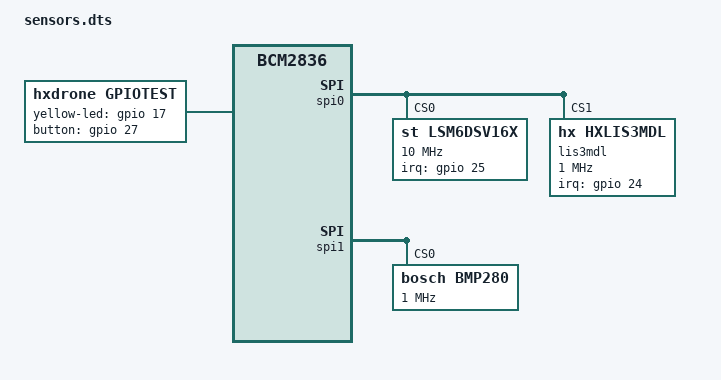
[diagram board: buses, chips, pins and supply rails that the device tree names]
/dts-v1/;
/plugin/;

/ {
	compatible = "brcm,bcm2836";
	fragment@0 {
		target-path = "/";
		__overlay__ {
			gpiotest {
				compatible = "hxdrone,gpiotest";
				status = "okay";
                my_label = "hello_dts";
				yellow-led-gpios = <&gpio 17 0>; 
				button-gpios = <&gpio 27 0>; 
			};
		};
	};

	fragment@1 {
        target = <&spidev0>;
        __overlay__ {
			status = "disabled";
		};
    };

	fragment@2 {
        target = <&spidev1>;
        __overlay__ {
			status = "disabled";
		};
    };

	fragment@3 {
        target = <&spi0>;
        __overlay__ {
			status = "okay";
			#address-cells = <1>;
			#size-cells = <0>;
			
			lsm6dsv16x@0 {
				compatible = "st,lsm6dsv16x";
				reg = <0>;
				interrupt-parent = <&gpio>;
				interrupts = <25 1>;
				spi-max-frequency = <10000000>;
			};	

			lis3mdl@1 {
				compatible = "hx,hxlis3mdl";
				reg = <1>;

				interrupt-parent = <&gpio>;
				interrupts = <24 1>;
				spi-max-frequency = <1000000>;
			};

			// mpu9250@1 {
			// 	compatible = "invensense,mpu6500";
			// 	reg = <1>;
			// 	interrupt-parent = <&gpio>;
			// 	interrupts = <17 1>;
			// 	spi-max-frequency = <1000000>;
			// };
		};
    };

	fragment@4 {
        target = <&spi1>;
        __overlay__ {
			status = "okay";
			#address-cells = <1>;
			#size-cells = <0>;
			
			bmp280@0 {
				compatible = "bosch,bmp280";
				reg = <0>;
				spi-max-frequency = <1000000>;
			};
		};
    };

	// fragment@4 {
	// 	target = <&i2c_arm>;
	// 	__overlay__ {
	// 		status = "okay";
	// 		#address-cells = <1>;
	// 		#size-cells = <0>;

	// 		lsm6dsv16x@6a {
	// 			compatible = "st,lsm6dsv16x";
	// 			reg = <0x6a>;
	// 			interrupt-parent = <&gpio>;
	// 			interrupts = <27 1>;
	// 			st,drdy-int-pin = <1>;
	// 		};
	// 	};
	// };
};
